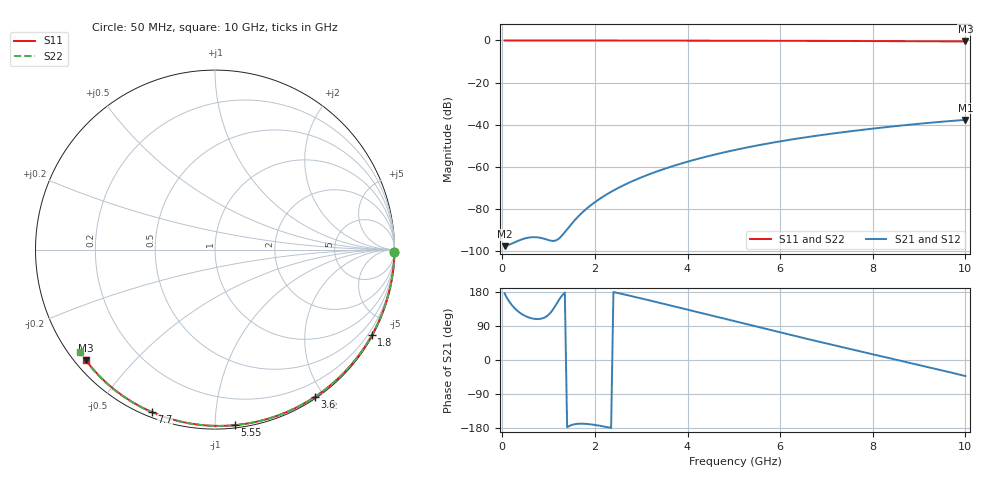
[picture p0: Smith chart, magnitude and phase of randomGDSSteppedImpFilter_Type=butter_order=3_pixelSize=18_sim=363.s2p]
! freq	dB(S11)	phase(S11)	dB(S12)	phase(S12)
!  dB(S21)	phase(S21)	dB(S22)	phase(S22)
!S-par simulation data
#  GHz  S  DB  R 50
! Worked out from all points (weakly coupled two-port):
!   200 points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, 50 MHz to 10 GHz, reference 50 ohm
!   highest |S21| = -37.72 dB at 10 GHz (marker M1); lowest = -97.7 dB at 50 MHz (marker M2)
!   lowest |S11| = -0.5 dB at 10 GHz (marker M3), VSWR 36.89, Z = 1.54 - j18.5 ohm
!   |S11| at or under -10 dB: nowhere
!   |S22| runs from -0.5 to 0.0 dB; largest |S21 - S12| = 0
!   S11 on the Smith chart (normalised r, x): 50 MHz: open; 1.8 GHz: 0.03, -3.91; 3.6 GHz: 0.02, -1.88; 5.55 GHz: 0.02, -1.12; 7.7 GHz: 0.02, -0.68; 10 GHz: 0.03, -0.37
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0.05  -0.00 -0.8  -97.69 176.1  -97.69 176.1  -0.00 -0.8
0.45  -0.01 -7.3  -94.25 119.2  -94.25 119.2  -0.01 -7.4
0.9  -0.02 -14.5  -94.13 111.3  -94.13 111.3  -0.02 -14.8
1.3  -0.03 -20.8  -92.37 171.5  -92.37 171.5  -0.03 -21.3
1.75  -0.04 -27.9  -81.25 -168.1  -81.25 -168.1  -0.04 -28.5
1.8  -0.04 -28.7  -80.27 -168.5  -80.27 -168.5  -0.04 -29.3
1.85  -0.04 -29.4  -79.34 -169.0  -79.34 -169.0  -0.04 -30.1
2.05  -0.04 -32.5  -76.00 -172.3  -76.00 -172.3  -0.04 -33.3
2.2  -0.04 -34.9  -73.83 -175.6  -73.83 -175.6  -0.05 -35.6
2.55  -0.05 -40.2  -69.50 175.3  -69.50 175.3  -0.05 -41.1
2.95  -0.06 -46.3  -65.49 164.0  -65.49 164.0  -0.06 -47.3
3.4  -0.07 -53.0  -61.72 150.8  -61.72 150.8  -0.07 -54.1
3.6  -0.08 -56.0  -60.25 144.8  -60.25 144.8  -0.08 -57.1
4.3  -0.09 -66.1  -55.77 123.9  -55.77 123.9  -0.10 -67.5
5.05  -0.12 -76.6  -51.88 101.3  -51.88 101.3  -0.12 -78.2
5.55  -0.14 -83.4  -49.67 86.3  -49.67 86.3  -0.14 -85.2
6.1  -0.16 -90.8  -47.55 69.9  -47.55 69.9  -0.16 -92.7
6.7  -0.19 -98.6  -45.51 52.3  -45.51 52.3  -0.19 -100.7
7.7  -0.26 -111.3  -42.64 23.7  -42.64 23.7  -0.26 -113.6
8.35  -0.31 -119.4  -41.02 5.4  -41.02 5.4  -0.31 -121.9
9.2  -0.38 -129.8  -39.15 -18.8  -39.15 -18.8  -0.39 -132.7
10  -0.47 -139.4  -37.72 -42.3  -37.72 -42.3  -0.48 -142.8
